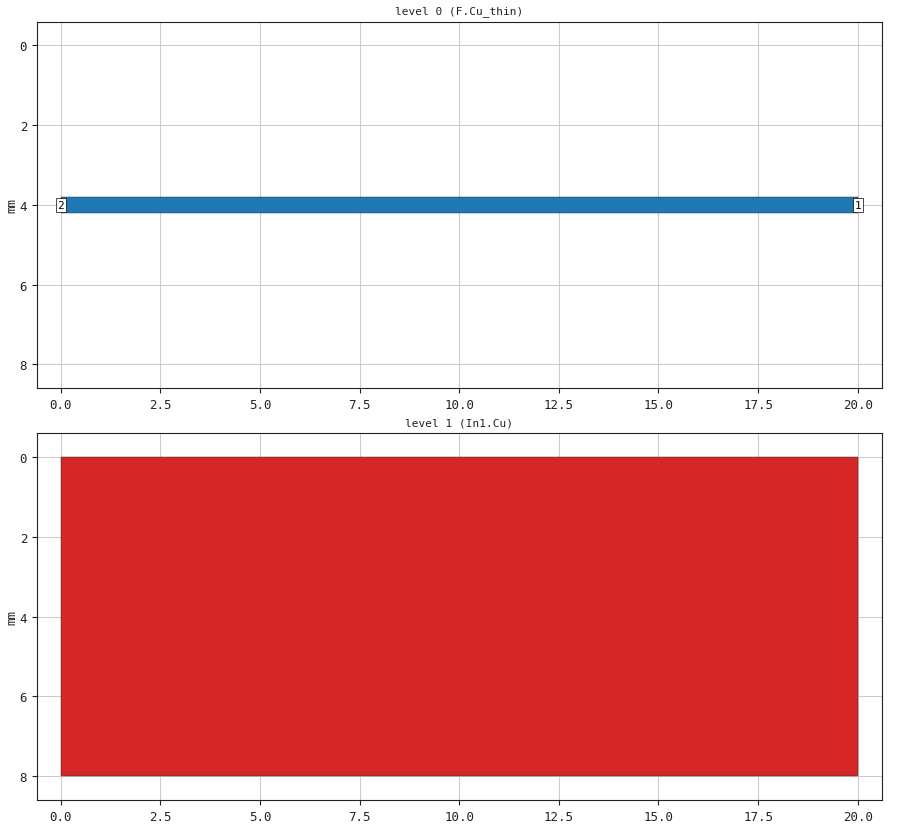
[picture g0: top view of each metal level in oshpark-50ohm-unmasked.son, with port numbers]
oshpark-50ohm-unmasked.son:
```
FTYP SONPROJ 19 ! Sonnet Project File
VER 18.54
HEADER
LIC antikernel2.1.51176
DAT 04/06/2022 18:33:28
BUILT_BY_CREATED xgeom 18.54 03/18/2022 23:45:30
BUILT_BY_SAVED sonnet 18.54
MDATE 03/18/2022 23:49:55
HDATE 03/18/2022 23:49:55
END HEADER
DIM
ANG DEG
CAP PF
CON /OH
FREQ GHZ
IND NH
LNG MM
RES OH
END DIM
CONTROL
VARSWP
OPTIONS  -dj
SPEED 1
CACHE_ABS 2
Q_ACC N
END CONTROL
GEO
SYM
TMET "Free Space" 0 FREESPACE 376.7303136 0 0 0
BMET "Free Space" 0 FREESPACE 376.7303136 0 0 0
MET "Copper_1oz+plated_thick_up" 1 TMM 58000000 0.5 0.0432 2
MET "Copper_1oz+plated_thin" 4 NOR 58000000 0.5 0.0432 
MET "Copper_0.5oz_thin" 2 NOR 58000000 0.5 0.0175 
MET "Copper_1oz+plated_thick_down" 3 TMM 58000000 0.5 0.0432 2 CDVY TDWN
BOX 4 20 8 1600 640 20 0
      10 1 1 0 0 0 0 "Air"
      0.2021 3.61 1 0.0092 0 0 0 "Isola_FR408HR"
      1.1938 3.61 1 0.0092 0 0 0 "Isola_FR408HR"
      0.2021 3.61 1 0.0092 0 0 0 "Isola_FR408HR"
      10 1 1 0 0 0 0 "Air"
TECHLAY METAL F.Cu_thick <UNSPECIFIED> -1 -65534 CAD F.Cu drawing 
0 0 0 N 81 1 1 100 100 0 0 0 Y
END
END
TECHLAY METAL F.Cu_thin <UNSPECIFIED> -2 -65534 CAD F.Cu_thin drawing 
0 0 1 N 83 1 1 100 100 0 0 0 Y
END
END
TECHLAY VIA Via1 <UNSPECIFIED> -7 -65534 CAD Via1 drawing 
VIA POLYGON
0 0 -1 N 111 1 1 100 100 0 0 0 Y
TOLEVEL 3 RING NOCOVERS
END
END
TECHLAY METAL In1.Cu <UNSPECIFIED> -3 -65534 CAD In1.Cu drawing 
1 0 2 N 90 1 1 100 100 0 0 0 Y
END
END
TECHLAY METAL In2.Cu <UNSPECIFIED> -4 -65534 CAD In2.Cu drawing 
2 0 2 N 93 1 1 100 100 0 0 0 Y
END
END
TECHLAY METAL B.Cu_thick <UNSPECIFIED> -5 -65534 CAD B.Cu drawing 
3 0 3 N 96 1 1 100 100 0 0 0 Y
END
END
TECHLAY METAL B.Cu_thin <UNSPECIFIED> -6 -65534 CAD B.Cu_thin drawing 
3 0 1 N 98 1 1 100 100 0 0 0 Y
END
END
VALVAR WIDTH LNG 0.4 "Dim. Param."
LORGN 0 8 U 
POR1 BOX
POLY 67 1
1
1 50 0 0 0 20 4 
POR1 BOX
POLY 67 1
3
2 50 0 0 0 0 4 
NUM 2
0 5 1 N 67 1 1 100 100 0 0 0 Y
TLAYNAM F.Cu_thin INH
0 3.8
20 3.8
20 4.2
0 4.2
0 3.8
END
1 5 2 N 68 1 1 100 100 0 0 0 Y
TLAYNAM In1.Cu INH
0 0
20 0
20 8
0 8
0 0
END
END GEO
OPT
MAX 100
END OPT
VARSWP
ENABLED Y
FREQ Y AY ABS_ENTRY 0.01 8.5 -1 300 
VAR WIDTH Y 0.4 0.5 0.05
END
END VARSWP
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```
